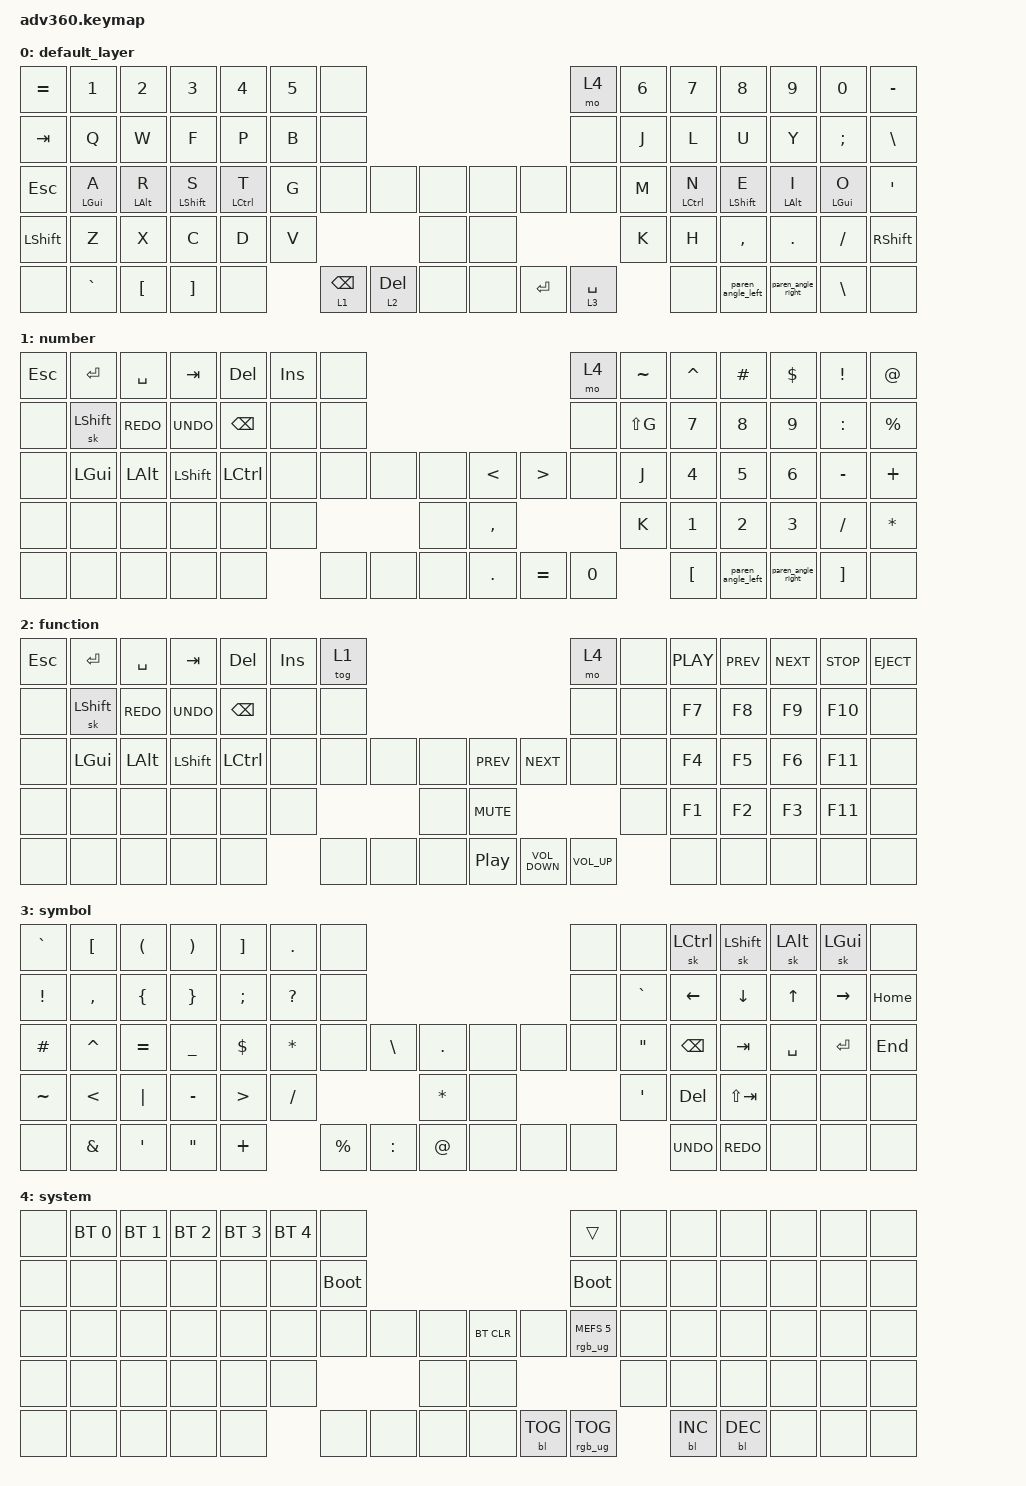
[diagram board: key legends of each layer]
/*
 * Copyright (c) 2020 The ZMK Contributors
 *
 * SPDX-License-Identifier: MIT
 */
/* THIS FILE WAS GENERATED!
 *
 * This file was generated automatically. You may or may not want to
 * edit it directly.
 */

#include <behaviors.dtsi>
#include <dt-bindings/zmk/backlight.h>
#include <dt-bindings/zmk/bt.h>
#include <dt-bindings/zmk/keys.h>
#include <dt-bindings/zmk/rgb.h>

/ {
    behaviors {
        #include "macros.dtsi"
    #include "version.dtsi"

        home_row_mod_left: home_row_mod_left {
            compatible = "zmk,behavior-hold-tap";
            label = "HOME_ROW_MOD_LEFT";
            bindings = <&kp>, <&kp>;

            #binding-cells = <2>;
            tapping-term-ms = <270>;
            require-prior-idle-ms = <230>;
            flavor = "tap-preferred";
            hold-trigger-on-release;
            hold-trigger-key-positions = <39 21 7 8 22 23 24 25 26 40 41 42 43 44 54 55 56 57 58 71 72 73 74 7 8 9 10 11 12 13 21 22 23 24 25 26 27 38 39 40 41 42 43 44 45 54 55 56 57 58 59 69 70 71 72 73 74 75 68 53 37>;
        };

        home_row_right: home_row_right {
            compatible = "zmk,behavior-hold-tap";
            label = "HOME_ROW_RIGHT";
            bindings = <&kp>, <&kp>;

            #binding-cells = <2>;
            tapping-term-ms = <270>;
            require-prior-idle-ms = <230>;
            flavor = "tap-preferred";
            hold-trigger-key-positions = <0 1 2 3 4 5 6 14 15 16 17 18 19 20 28 29 30 31 32 33 34 35 36 46 47 48 49 50 51 52 60 61 62 63 64 65 66 67>;
            hold-trigger-on-release;
        };

        paren_angle_left: paren_angle_left {
            compatible = "zmk,behavior-mod-morph";
            label = "PAREN_ANGLE_LEFT";
            bindings = <&kp LEFT_PARENTHESIS>, <&kp LESS_THAN>;

            #binding-cells = <0>;
            mods = <(MOD_LSFT|MOD_RSFT)>;
        };

        paren_angle_right: paren_angle_right {
            compatible = "zmk,behavior-mod-morph";
            label = "PAREN_ANGLE_RIGHT";
            bindings = <&kp RIGHT_PARENTHESIS>, <&kp GREATER_THAN>;

            #binding-cells = <0>;
            mods = <(MOD_LSFT|MOD_RSFT)>;
        };

        layer_tap: layer_tap {
            compatible = "zmk,behavior-hold-tap";
            label = "LAYER_TAP";
            bindings = <&mo>, <&kp>;

            #binding-cells = <2>;
            tapping-term-ms = <175>;
            flavor = "balanced";
        };
    };

    keymap {
        compatible = "zmk,keymap";

        default_layer {
            bindings = <
&kp EQUAL  &kp N1                         &kp N2                         &kp N3                           &kp N4                             &kp N5  &none                                                                     &mo 4               &kp N6  &kp N7                          &kp N8                        &kp N9                      &kp N0                      &kp MINUS
&kp TAB    &kp Q                          &kp W                          &kp F                            &kp P                              &kp B   &none                                                                     &none               &kp J   &kp L                           &kp U                         &kp Y                       &kp SEMICOLON               &kp BSLH
&kp ESC    &home_row_mod_left LEFT_GUI A  &home_row_mod_left LEFT_ALT R  &home_row_mod_left LEFT_SHIFT S  &home_row_mod_left LEFT_CONTROL T  &kp G   &none                   &none                &none      &none  &none      &none               &kp M   &home_row_right LEFT_CONTROL N  &home_row_right LEFT_SHIFT E  &home_row_right LEFT_ALT I  &home_row_right LEFT_GUI O  &kp SQT
&kp LSHFT  &kp Z                          &kp X                          &kp C                            &kp D                              &kp V                                                &none      &none                                 &kp K   &kp H                           &kp COMMA                     &kp DOT                     &kp FSLH                    &kp RSHFT
&none      &kp GRAVE                      &kp LEFT_BRACKET               &kp RIGHT_BRACKET                &none                                      &layer_tap 1 BACKSPACE  &layer_tap 2 DELETE  &none      &none  &kp ENTER  &layer_tap 3 SPACE          &none                           &paren_angle_left             &paren_angle_right          &kp BACKSLASH               &none
            >;
        };

        number {
            bindings = <
&kp ESCAPE  &kp ENTER       &kp SPACE     &kp TAB         &kp DELETE        &kp INSERT  &none                                                     &mo 4   &kp TILDE  &kp CARET         &kp HASH           &kp DOLLAR          &kp EXCLAMATION  &kp AT_SIGN
&none       &sk LEFT_SHIFT  &kp K_REDO    &kp K_UNDO      &kp BACKSPACE     &none       &none                                                     &none   &kp LS(G)  &kp N7            &kp N8             &kp N9              &kp COLON        &kp PERCENT
&none       &kp LEFT_GUI    &kp LEFT_ALT  &kp LEFT_SHIFT  &kp LEFT_CONTROL  &none       &none  &none  &none      &kp LESS_THAN  &kp GREATER_THAN  &none   &kp J      &kp NUMBER_4      &kp N5             &kp NUMBER_6        &kp MINUS        &kp PLUS
&none       &none           &none         &none           &none             &none                     &none      &kp COMMA                                &kp K      &kp NUMBER_1      &kp NUMBER_2       &kp NUMBER_3        &kp SLASH        &kp ASTERISK
&none       &none           &none         &none           &none                         &none  &none  &none      &kp PERIOD     &kp EQUAL         &kp N0             &kp LEFT_BRACKET  &paren_angle_left  &paren_angle_right  &kp RBKT         &none
            >;
        };

        function {
            bindings = <
&kp ESCAPE  &kp ENTER       &kp SPACE     &kp TAB         &kp DELETE        &kp INSERT  &tog 1                                                         &mo 4            &none  &kp C_PLAY  &kp C_PREV  &kp C_NEXT  &kp C_STOP  &kp C_EJECT
&none       &sk LEFT_SHIFT  &kp K_REDO    &kp K_UNDO      &kp BACKSPACE     &none       &none                                                          &none            &none  &kp F7      &kp F8      &kp F9      &kp F10     &none
&none       &kp LEFT_GUI    &kp LEFT_ALT  &kp LEFT_SHIFT  &kp LEFT_CONTROL  &none       &none   &none  &none      &kp C_PREV        &kp C_NEXT         &none            &none  &kp F4      &kp F5      &kp F6      &kp F11     &none
&none       &none           &none         &none           &none             &none                      &none      &kp K_MUTE                                            &none  &kp F1      &kp F2      &kp F3      &kp F11     &none
&none       &none           &none         &none           &none                         &none   &none  &none      &kp C_PLAY_PAUSE  &kp C_VOLUME_DOWN  &kp C_VOLUME_UP         &none       &none       &none       &none       &none
            >;
        };

        symbol {
            bindings = <
&kp GRAVE        &kp LEFT_BRACKET  &kp LEFT_PARENTHESIS  &kp RIGHT_PARENTHESIS  &kp RIGHT_BRACKET  &kp PERIOD    &none                                                       &none  &none              &sk LEFT_CONTROL  &sk LEFT_SHIFT  &sk LEFT_ALT  &sk LEFT_GUI     &none
&kp EXCLAMATION  &kp COMMA         &kp LEFT_BRACE        &kp RIGHT_BRACE        &kp SEMICOLON      &kp QUESTION  &none                                                       &none  &kp GRAVE          &kp LEFT_ARROW    &kp DOWN_ARROW  &kp UP_ARROW  &kp RIGHT_ARROW  &kp HOME
&kp HASH         &kp CARET         &kp EQUAL             &kp UNDERSCORE         &kp DOLLAR         &kp ASTERISK  &none        &kp BACKSLASH  &kp PERIOD        &none  &none  &none  &kp DOUBLE_QUOTES  &kp BACKSPACE     &kp TAB         &kp SPACE     &kp ENTER        &kp END
&kp TILDE        &kp LESS_THAN     &kp PIPE              &kp MINUS              &kp GREATER_THAN   &kp SLASH                                 &kp ASTERISK      &none                &kp SINGLE_QUOTE   &kp DELETE        &kp LS(TAB)     &none         &none            &none
&none            &kp AMPERSAND     &kp SQT               &kp DOUBLE_QUOTES      &kp PLUS                         &kp PERCENT  &kp COLON      &kp AT_SIGN       &none  &none  &none                     &kp K_UNDO        &kp K_REDO      &none         &none            &none
            >;
        };

        system {
            bindings = <
&none  &bt BT_SEL 0  &bt BT_SEL 1  &bt BT_SEL 2  &bt BT_SEL 3  &bt BT_SEL 4  &none                                                  &trans                  &none  &none       &none       &none  &none  &none
&none  &none         &none         &none         &none         &none         &bootloader                                            &bootloader             &none  &none       &none       &none  &none  &none
&none  &none         &none         &none         &none         &none         &none        &none  &none      &bt BT_CLR  &none       &rgb_ug RGB_MEFS_CMD 5  &none  &none       &none       &none  &none  &none
&none  &none         &none         &none         &none         &none                             &none      &none                                           &none  &none       &none       &none  &none  &none
&none  &none         &none         &none         &none                       &none        &none  &none      &none       &bl BL_TOG  &rgb_ug RGB_TOG                &bl BL_INC  &bl BL_DEC  &none  &none  &none
            >;
        };
    };
};
